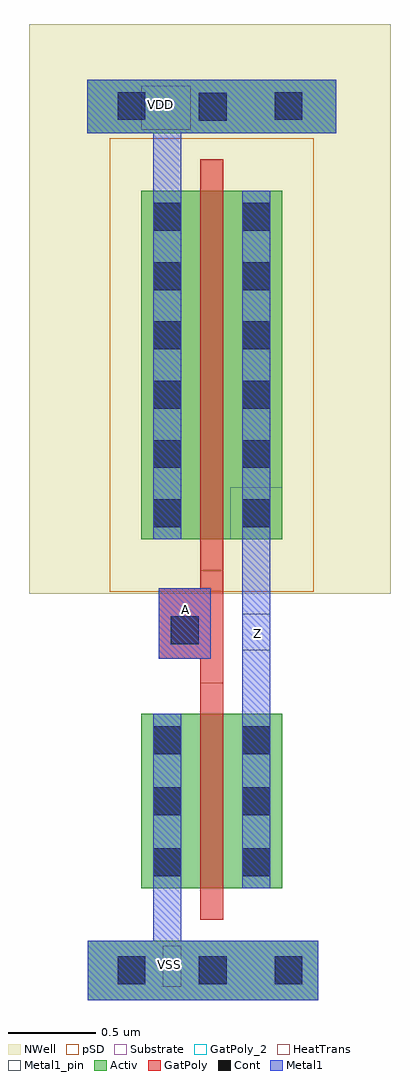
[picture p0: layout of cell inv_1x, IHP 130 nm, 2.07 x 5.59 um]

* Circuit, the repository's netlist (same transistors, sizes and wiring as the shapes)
** sch_path: /home/designer/shared/amaru/analog/core/inv_1x.sch
.subckt inv_1x VDD A Z VSS
*.PININFO VDD:B VSS:B A:B Z:B
M1 Z A VSS VSS sg13_lv_nmos w=1u l=0.13u ng=1 m=1
M2 Z A VDD VDD sg13_lv_pmos w=2u l=0.13u ng=1 m=1
.ends

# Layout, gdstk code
import gdstk
lib = gdstk.Library(unit=1e-6, precision=5e-09)
def R(c, l, rs):  # rectangles x0, y0, x1, y1
    for r in rs: c.add(gdstk.rectangle(r[:2], r[2:], *l))
def A(c, l, x, y, w, h, nx, ny, dx, dy):  # array of equal rectangles
    R(c, l, [(x+i*dx, y+j*dy, x+i*dx+w, y+j*dy+h) for i in range(nx) for j in range(ny)])
Activ = (1, 0)
GatPoly = (5, 0)
GatPoly_2 = (5, 2)
Cont = (6, 0)
Metal1 = (8, 0)
Metal1_pin = (8, 2)
pSD = (14, 0)
NWell = (31, 0)
Substrate = (40, 0)
HeatTrans = (51, 0)

nmos_1 = lib.new_cell('nmos$1')
R(nmos_1, Activ, [(0,0,0.3,0.3), (0,0,0.81,1), (0.51,0,0.81,0.3)])
R(nmos_1, GatPoly, [(0.34,-0.18,0.47,1.18)])
R(nmos_1, GatPoly_2, [(0.34,-0.18,0.47,1.18)])
A(nmos_1, Cont, 0.07, 0.07, 0.16, 0.16, 1, 3, 0, 0.35)
A(nmos_1, Cont, 0.58, 0.07, 0.16, 0.16, 1, 3, 0, 0.35)
R(nmos_1, Metal1, [(0.07,0,0.23,1), (0.58,0,0.74,1)])
R(nmos_1, Metal1_pin, [(0.07,0,0.23,1), (0.58,0,0.74,1)])
R(nmos_1, HeatTrans, [(0.34,-0.18,0.47,1.18)])
nmos_1.add(gdstk.Label('nmos', (0.405,0.5), layer=63, texttype=0))
nmos_1.add(gdstk.Label('nmos', (0.405,0.5), layer=51, texttype=0))

pmos_1 = lib.new_cell('pmos$1')
R(pmos_1, Activ, [(0,0,0.3,0.3), (0,0,0.81,2), (0.51,0,0.81,0.3)])
R(pmos_1, GatPoly, [(0.34,-0.18,0.47,2.18), (0.34,-0.18,0.47,2.18)])
A(pmos_1, Cont, 0.07, 0.07, 0.16, 0.16, 1, 6, 0, 0.34)
A(pmos_1, Cont, 0.58, 0.07, 0.16, 0.16, 1, 6, 0, 0.34)
R(pmos_1, Metal1, [(0.07,0,0.23,2), (0.07,0,0.23,2), (0.58,0,0.74,2), (0.58,0,0.74,2)])
R(pmos_1, pSD, [(-0.18,-0.3,0.99,2.3)])
R(pmos_1, NWell, [(-0.31,-0.31,1.12,2.31)])
R(pmos_1, Substrate, [(0.51,0,0.81,0.3)])
R(pmos_1, HeatTrans, [(0.34,-0.18,0.47,2.18)])
pmos_1.add(gdstk.Label('pmos', (0.405,1), layer=63, texttype=0))
pmos_1.add(gdstk.Label('pmos', (0.405,1), layer=51, texttype=0))

inv_1x = lib.new_cell('inv_1x')
R(inv_1x, Activ, [(-0.305,-0.64,1.015,-0.3), (-0.31,4.33,1.12,4.635)])
R(inv_1x, GatPoly, [(0.1,1.315,0.4,1.72)])
R(inv_1x, Cont, [(-0.135,-0.55,0.025,-0.39), (0.33,-0.55,0.49,-0.39), (0.765,-0.55,0.925,-0.39), (0.17,1.4,0.33,1.56), (0.33,4.4,0.49,4.56), (-0.135,4.405,0.025,4.565), (0.765,4.405,0.925,4.565)])
R(inv_1x, Metal1, [(-0.305,-0.64,1.015,-0.3), (0.1,1.315,0.4,1.72), (-0.31,4.33,1.12,4.635)])
R(inv_1x, Metal1_pin, [(0.125,-0.565,0.23,-0.33), (0.1,1.315,0.4,1.72), (0.58,1.365,0.74,1.575), (0,4.35,0.285,4.6)])
R(inv_1x, pSD, [(-0.305,-0.64,1.015,-0.3)])
R(inv_1x, NWell, [(-0.64,1.69,1.43,4.955), (-0.31,4.33,1.12,4.635)])
inv_1x.add(gdstk.FlexPath([(0.405,1.18),(0.405,1.82)], 0.13, ends="flush", simple_path=True, layer=5, datatype=0))  # GatPoly
inv_1x.add(gdstk.FlexPath([(0.15,4),(0.15,4.6)], 0.16, ends="flush", simple_path=True, layer=8, datatype=0))  # Metal1
inv_1x.add(gdstk.FlexPath([(0.66,2),(0.66,1)], 0.16, ends="flush", simple_path=True, layer=8, datatype=0))  # Metal1
inv_1x.add(gdstk.FlexPath([(0.15,0),(0.15,-0.395)], 0.16, ends="flush", simple_path=True, layer=8, datatype=0))  # Metal1
inv_1x.add(gdstk.Reference(nmos_1, (0,0)))
inv_1x.add(gdstk.Reference(pmos_1, (0,2)))
inv_1x.add(gdstk.Label('VDD', (0.11,4.495), layer=8, texttype=25))
inv_1x.add(gdstk.Label('VSS', (0.16,-0.435), layer=8, texttype=25))
inv_1x.add(gdstk.Label('Z', (0.67,1.46), layer=8, texttype=25))
inv_1x.add(gdstk.Label('A', (0.255,1.6), layer=8, texttype=25))

lib.write_gds('inv_1x.gds')
